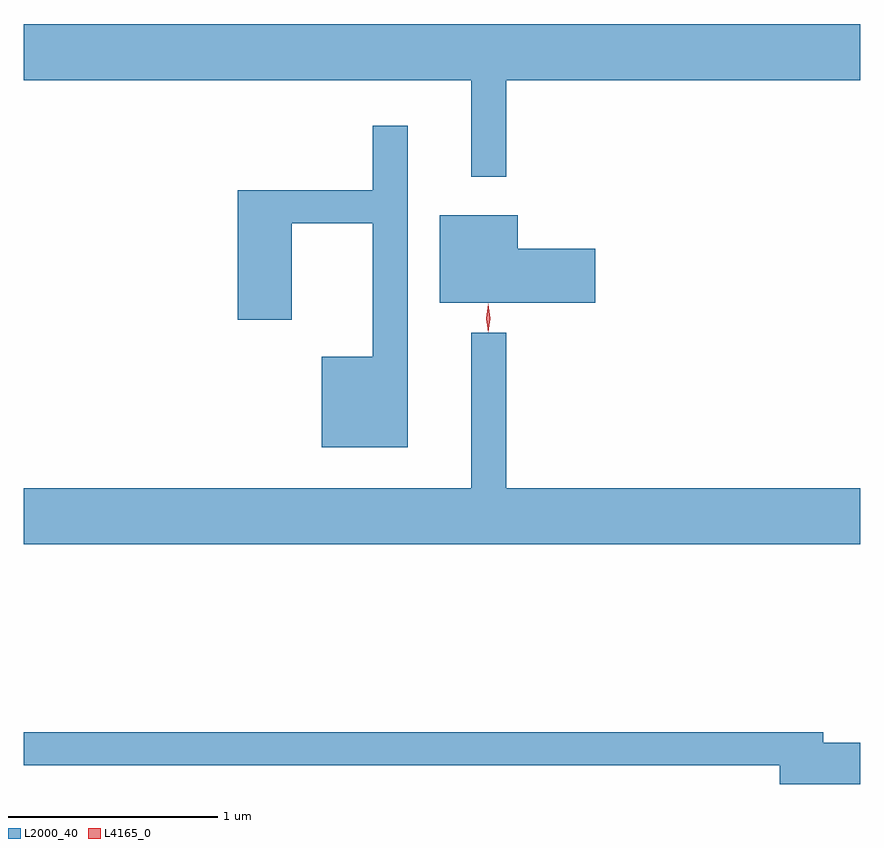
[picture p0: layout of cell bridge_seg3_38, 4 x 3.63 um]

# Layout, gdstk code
import gdstk
lib = gdstk.Library(unit=1e-6, precision=1e-09)
def P(c, l, *ps):  # polygons
    for p in ps: c.add(gdstk.Polygon(p, *l))
L2000_40 = (2000, 40)
L4165_0 = (4165, 0)

bridge_seg3_38 = lib.new_cell('bridge_seg3_38')
P(bridge_seg3_38, L2000_40, [(1302.499,1174.856),(1304.192,1174.856),(1304.192,1175.124),(1300.192,1175.124),(1300.192,1174.856),(1302.331,1174.856),(1302.331,1174.393),(1302.499,1174.393)],
  [(1302.029,1174.638),(1301.861,1174.638),(1301.861,1174.329),(1301.216,1174.329),(1301.216,1173.711),(1301.474,1173.711),(1301.474,1174.171),(1301.861,1174.171),(1301.861,1173.534),(1301.616,1173.534),(1301.616,1173.101),(1302.029,1173.101)],
  [(1302.924,1174.049),(1302.554,1174.049),(1302.554,1174.209),(1302.181,1174.209),(1302.181,1173.791),(1302.924,1173.791)],
  [(1304.192,1172.904),(1302.499,1172.904),(1302.499,1173.648),(1302.331,1173.648),(1302.331,1172.904),(1300.192,1172.904),(1300.192,1172.636),(1304.192,1172.636)],
  [(1304.192,1171.689),(1304.014,1171.689),(1304.014,1171.739),(1300.192,1171.739),(1300.192,1171.581),(1303.806,1171.581),(1303.806,1171.491),(1304.192,1171.491)])
P(bridge_seg3_38, L4165_0, [(1302.413,1173.65),(1302.413,1173.65),(1302.403,1173.718),(1302.412,1173.785),(1302.412,1173.786),(1302.413,1173.785),(1302.423,1173.718),(1302.414,1173.65)],
  [(1302.413,1173.653),(1302.413,1173.654),(1302.403,1173.716),(1302.412,1173.78),(1302.413,1173.78),(1302.413,1173.78),(1302.423,1173.716),(1302.414,1173.654)])

lib.write_gds('bridge_seg3_38.gds')
